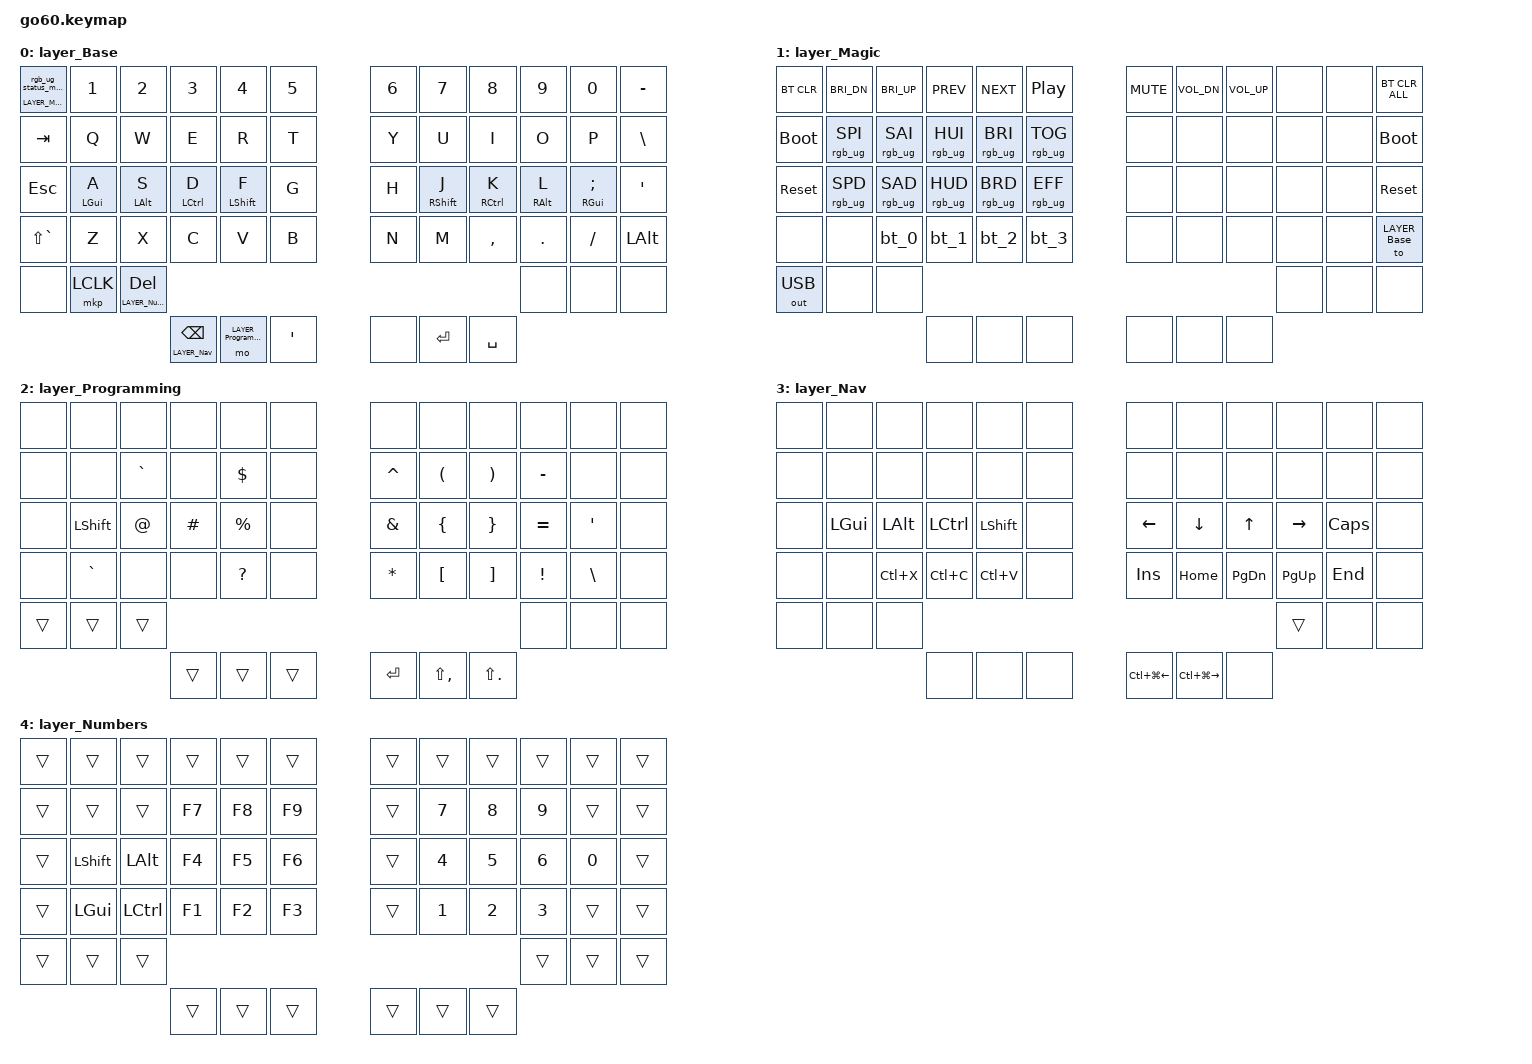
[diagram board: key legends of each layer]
/*
 * Copyright (c) 2020 The ZMK Contributors
 *
 * SPDX-License-Identifier: MIT
 */

#include <behaviors.dtsi>

#include <dt-bindings/zmk/bt.h>
#include <dt-bindings/zmk/ext_power.h>
#include <dt-bindings/zmk/keys.h>
#include <dt-bindings/zmk/outputs.h>
#include <dt-bindings/zmk/rgb.h>
#include <dt-bindings/zmk/input_transform.h>
#include <dt-bindings/zmk/pointing.h>

#include <input/processors.dtsi>
#include <zephyr/dt-bindings/input/input-event-codes.h>

// layers
#define LAYER_Base 0
#define LAYER_Magic 1
#define LAYER_Programming 2
#define LAYER_Nav 3
#define LAYER_Numbers 4

/ {
    input_processors {
        zip_click_to_right_click_mapper: zip_click_to_right_click_mapper {
            compatible = "zmk,input-processor-code-mapper";
            #input-processor-cells = <0>;
            type = <INPUT_EV_KEY>;
            map = <INPUT_BTN_0 INPUT_BTN_1>;
        };
    };

    behaviors {
        hml: home_row_mod_left {
            compatible = "zmk,behavior-hold-tap";
            #binding-cells = <2>;
            flavor = "balanced";
            tapping-term-ms = <280>;
            quick-tap-ms = <175>;
            require-prior-idle-ms = <150>;
            bindings = <&kp>, <&kp>;
        };

        hmr: home_row_mod_right {
            compatible = "zmk,behavior-hold-tap";
            #binding-cells = <2>;
            flavor = "balanced";
            tapping-term-ms = <280>;
            quick-tap-ms = <175>;
            require-prior-idle-ms = <150>;
            bindings = <&kp>, <&kp>;
        };

        magic: magic {
            compatible = "zmk,behavior-hold-tap";
            #binding-cells = <2>;
            flavor = "tap-preferred";
            tapping-term-ms = <200>;
            bindings = <&mo>, <&rgb_ug_status_macro>;
        };

        bt_0: bt_0 {
            compatible = "zmk,behavior-tap-dance";
            #binding-cells = <0>;
            tapping-term-ms = <200>;
            bindings = <&bt_select_0>, <&bt BT_DISC 0>;
        };
        bt_1: bt_1 {
            compatible = "zmk,behavior-tap-dance";
            #binding-cells = <0>;
            tapping-term-ms = <200>;
            bindings = <&bt_select_1>, <&bt BT_DISC 1>;
        };
        bt_2: bt_2 {
            compatible = "zmk,behavior-tap-dance";
            #binding-cells = <0>;
            tapping-term-ms = <200>;
            bindings = <&bt_select_2>, <&bt BT_DISC 2>;
        };
        bt_3: bt_3 {
            compatible = "zmk,behavior-tap-dance";
            #binding-cells = <0>;
            tapping-term-ms = <200>;
            bindings = <&bt_select_3>, <&bt BT_DISC 3>;
        };
    };

    macros {
        rgb_ug_status_macro: rgb_ug_status_macro {
            compatible = "zmk,behavior-macro";
            #binding-cells = <0>;
            bindings = <&rgb_ug RGB_STATUS>;
        };

        bt_select_0: bt_select_0 {
            compatible = "zmk,behavior-macro";
            #binding-cells = <0>;
            bindings
                = <&out OUT_BLE>,
                  <&bt BT_SEL 0>;
        };
        bt_select_1: bt_select_1 {
            compatible = "zmk,behavior-macro";
            #binding-cells = <0>;
            bindings
                = <&out OUT_BLE>,
                  <&bt BT_SEL 1>;
        };
        bt_select_2: bt_select_2 {
            compatible = "zmk,behavior-macro";
            #binding-cells = <0>;
            bindings
                = <&out OUT_BLE>,
                  <&bt BT_SEL 2>;
        };
        bt_select_3: bt_select_3 {
            compatible = "zmk,behavior-macro";
            #binding-cells = <0>;
            bindings
                = <&out OUT_BLE>,
                  <&bt BT_SEL 3>;
        };
    };

    keymap {
        compatible = "zmk,keymap";
        layer_Base {
            bindings = <
    &magic LAYER_Magic 0       &kp N1        &kp N2       &kp N3        &kp N4       &kp N5                                          &kp N6       &kp N7       &kp N8      &kp N9       &kp N0      &kp MINUS
               &kp TAB       &kp Q         &kp W        &kp E         &kp R        &kp T                                           &kp Y        &kp U        &kp I       &kp O        &kp P       &kp BSLH
               &kp ESC  &hml LGUI A   &hml LALT S &hml LCTRL D &hml LSHFT F      &kp G                                           &kp H   &hmr RSHFT J &hmr RCTRL K &hmr RALT L &hmr RGUI SEMI   &kp SQT
       &kp LS(GRAVE)       &kp Z         &kp X        &kp C         &kp V        &kp B                                           &kp N        &kp M    &kp COMMA     &kp DOT     &kp FSLH    &kp LALT
                              &none   &mkp LCLK      &lt LAYER_Numbers DEL      &none      &none      &none
             &lt LAYER_Nav BSPC  &mo LAYER_Programming  &kp SQT  &none    &kp RET    &kp SPACE
            >;
        };

        layer_Magic {
            bindings = <
    &bt BT_CLR     &kp C_BRI_DN     &kp C_BRI_UP       &kp C_PREV       &kp C_NEXT         &kp C_PP                                &kp C_MUTE  &kp C_VOL_DN  &kp C_VOL_UP   &none   &none    &bt BT_CLR_ALL
   &bootloader  &rgb_ug RGB_SPI  &rgb_ug RGB_SAI  &rgb_ug RGB_HUI  &rgb_ug RGB_BRI  &rgb_ug RGB_TOG                                     &none         &none         &none   &none   &none       &bootloader
    &sys_reset  &rgb_ug RGB_SPD  &rgb_ug RGB_SAD  &rgb_ug RGB_HUD  &rgb_ug RGB_BRD  &rgb_ug RGB_EFF                                     &none         &none         &none   &none   &none        &sys_reset
         &none            &none            &bt_0            &bt_1            &bt_2            &bt_3                                     &none         &none         &none   &none   &none   &to LAYER_Base
                                    &out OUT_USB            &none            &none                                                     &none   &none   &none
                                                                      &none            &none            &none         &none       &none   &none
            >;
        };

        layer_Programming {
            bindings = <
                 &none      &none      &none      &none       &none      &none                                      &none      &none       &none      &none       &none      &none
                 &none      &none  &kp GRAVE      &none    &kp DLLR      &none                                   &kp CARET   &kp LPAR    &kp RPAR  &kp MINUS    &none      &none
                 &none   &kp LSHFT    &kp AT   &kp HASH   &kp PRCNT      &none                                    &kp AMPS   &kp LBRC    &kp RBRC  &kp EQUAL   &kp SQT     &none
                 &none   &kp GRAVE     &none      &none   &kp QMARK      &none                                    &kp STAR   &kp LBKT    &kp RBKT   &kp EXCL  &kp BSLH     &none
                              &trans    &trans    &trans                                                                      &none         &none   &none
                                                         &trans  &trans  &trans               &kp RET  &kp LS(COMMA)  &kp LS(DOT)
            >;
        };

        layer_Nav {
            bindings = <
                 &none      &none      &none      &none      &none      &none                                   &none       &none      &none      &none      &none      &none
                 &none      &none      &none      &none      &none      &none                                   &none       &none      &none      &none      &none      &none
                 &none  &kp LGUI  &kp LALT  &kp LCTRL  &kp LSHFT      &none                                &kp LEFT   &kp DOWN    &kp UP   &kp RIGHT   &kp CAPS    &none
                 &none      &none      &kp LC(X)      &kp LC(C)      &kp LC(V)      &none                                 &kp INS   &kp HOME  &kp PG_DN  &kp PG_UP    &kp END    &none
                              &none     &none     &none                                                                       &trans        &none   &none
                                                            &none   &none   &none                      &kp LC(LG(LEFT))  &kp LC(LG(RIGHT))    &none
            >;
        };

        layer_Numbers {
            bindings = <
                &trans     &trans     &trans     &trans     &trans     &trans                                  &trans      &trans    &trans    &trans     &trans     &trans
                &trans     &trans     &trans     &kp F7     &kp F8     &kp F9                                  &trans      &kp N7    &kp N8    &kp N9     &trans     &trans
                &trans  &kp LSHFT  &kp LALT     &kp F4     &kp F5     &kp F6                                  &trans      &kp N4    &kp N5    &kp N6      &kp N0     &trans
                &trans   &kp LGUI &kp LCTRL     &kp F1     &kp F2     &kp F3                                  &trans      &kp N1    &kp N2    &kp N3     &trans     &trans
                             &trans    &trans    &trans    &trans     &trans    &trans
                             &trans    &trans    &trans    &trans     &trans    &trans
            >;
        };

    };
};

&cirque_rh_listener {
    input-processors = <&zip_xy_scaler 7 2>;
};

&cirque_lh_listener {
    input-processors = <&zip_xy_to_scroll_mapper>, <&zip_xy_scaler 1 10>, <&zip_click_to_right_click_mapper>;
};
